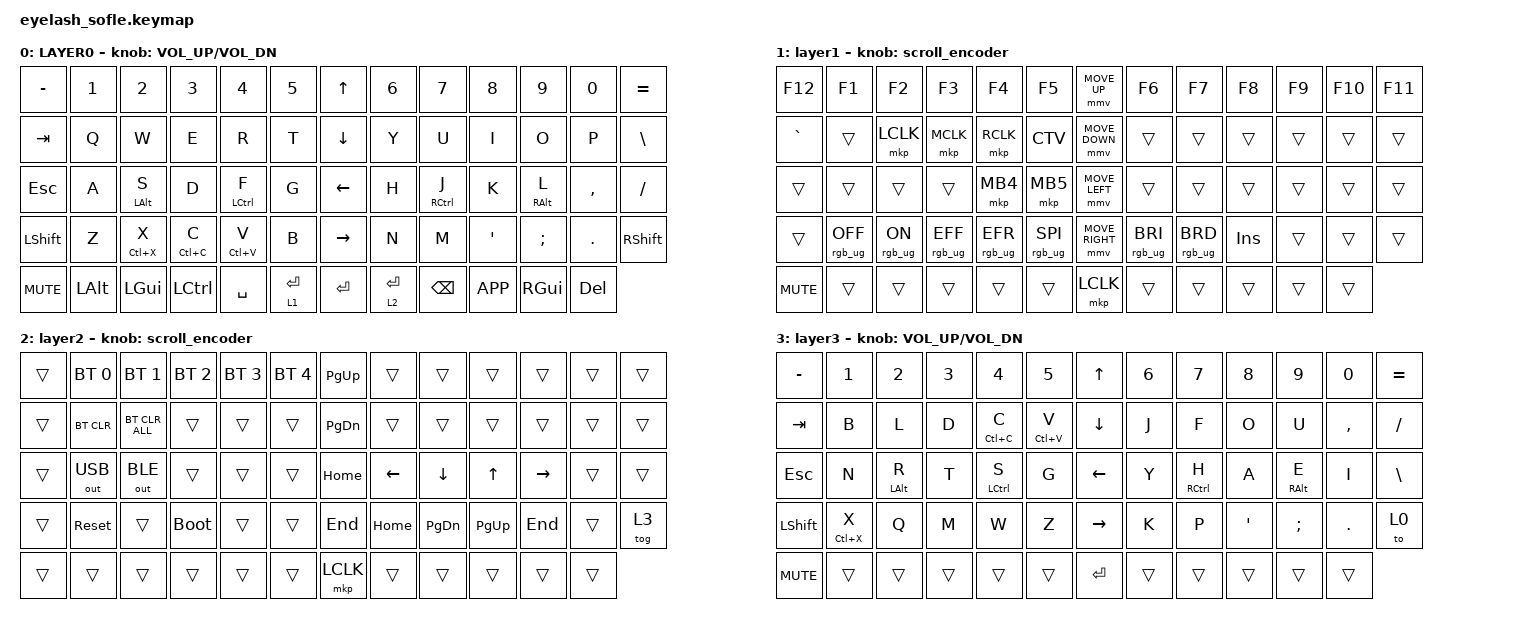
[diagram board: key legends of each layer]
#define ZMK_POINTING_DEFAULT_MOVE_VAL 1200  // 600
#define ZMK_POINTING_DEFAULT_SCRL_VAL 25   // 10

#include <input/processors.dtsi>
#include <zephyr/dt-bindings/input/input-event-codes.h>
#include <behaviors.dtsi>
#include <dt-bindings/zmk/bt.h>
#include <dt-bindings/zmk/keys.h>
#include <dt-bindings/zmk/outputs.h>
#include <dt-bindings/zmk/pointing.h>
#include <dt-bindings/zmk/rgb.h>

&mmv_input_listener { input-processors = <&zip_xy_scaler 2 1>; };

&msc_input_listener { input-processors = <&zip_scroll_scaler 2 1>; };

&msc {
    acceleration-exponent = <1>;      // 0
    time-to-max-speed-ms = <100>;       // 300
    delay-ms = <0>;                   // 0
};

&mmv {
    time-to-max-speed-ms = <500>;
    acceleration-exponent = <1>;
    trigger-period-ms = <16>;
};

&soft_off { hold-time-ms = <2000>; };

&mt { require-prior-idle-ms = <125>; };

/ {
    scroll_encoder: scroll_encoder {
        compatible = "zmk,behavior-sensor-rotate";
        #sensor-binding-cells = <0>;
        bindings = <&msc SCRL_DOWN>, <&msc SCRL_UP>;

        tap-ms = <100>;
    };

    behaviors {
    };

    combos {
        compatible = "zmk,combos";

        softoff {
            bindings = <&soft_off>;
            key-positions = <14 28 40>;
        };
    };

    macros {
        SHIFT_MCLK: SHIFT_MCLK {
            compatible = "zmk,behavior-macro";
            #binding-cells = <0>;
            bindings =
                <&macro_press>,
                <&kp LEFT_SHIFT>,
                <&macro_press>,
                <&mkp MB3>,
                <&macro_pause_for_release>,
                <&macro_release>,
                <&kp LEFT_SHIFT &mkp MB3>;

            label = "SHIFT_MCLK";
        };

        CTV: CTV {
            compatible = "zmk,behavior-macro";
            #binding-cells = <0>;
            bindings =
                <&macro_press>,
                <&kp LCTRL>,
                <&macro_tap>,
                <&kp C &kp T &kp V>,
                <&macro_release>,
                <&kp LCTRL>;

            label = "CTV";
        };
    };

    keymap {
        compatible = "zmk,keymap";

        Base {
            bindings = <
&kp MINUS   &kp N1    &kp N2          &kp N3       &kp N4       &kp N5       &kp UP_ARROW     &kp N6     &kp N7       &kp N8     &kp N9           &kp N0      &kp EQUAL
&kp TAB     &kp Q     &kp W           &kp E        &kp R        &kp T        &kp DOWN_ARROW   &kp Y      &kp U        &kp I      &kp O            &kp P       &kp BSLH
&kp ESC     &kp A     &mt LEFT_ALT S  &kp D        &mt LCTRL F  &kp G        &kp LEFT_ARROW   &kp H      &mt RCTRL J  &kp K      &mt RIGHT_ALT L  &kp COMMA   &kp FSLH
&kp LSHFT   &kp Z     &mt LC(X) X     &mt LC(C) C  &mt LC(V) V  &kp B        &kp RIGHT_ARROW  &kp N      &kp M        &kp APOS   &kp SEMI         &kp DOT     &kp RSHFT
&kp C_MUTE  &kp LALT  &kp LGUI        &kp LCTRL    &kp SPACE    &lt 1 RET    &kp ENTER        &lt 2 RET  &kp BSPC     &kp K_APP  &kp RGUI         &kp DELETE
            >;

            sensor-bindings = <&inc_dec_kp C_VOLUME_UP C_VOL_DN>;
            display-name = "LAYER0";
            label = "Base";
        };

        Low {
            bindings = <
&kp F12     &kp F1           &kp F2          &kp F3           &kp F4           &kp F5             &mmv MOVE_UP     &kp F6           &kp F7           &kp F8      &kp F9  &kp F10  &kp F11
&kp GRAVE   &trans           &mkp LCLK       &mkp MCLK        &mkp RCLK        &CTV               &mmv MOVE_DOWN   &trans           &trans           &trans      &trans  &trans   &trans
&trans      &trans           &trans          &trans           &mkp MB4         &mkp MB5           &mmv MOVE_LEFT   &trans           &trans           &trans      &trans  &trans   &trans
&trans      &rgb_ug RGB_OFF  &rgb_ug RGB_ON  &rgb_ug RGB_EFF  &rgb_ug RGB_EFR  &rgb_ug RGB_SPI    &mmv MOVE_RIGHT  &rgb_ug RGB_BRI  &rgb_ug RGB_BRD  &kp INSERT  &trans  &trans   &trans
&kp C_MUTE  &trans           &trans          &trans           &trans           &trans             &mkp LCLK        &trans           &trans           &trans      &trans  &trans
            >;

            display-name = "layer1";
            sensor-bindings = <&scroll_encoder>;
            label = "Low";
        };

        Rai {
            bindings = <
&trans  &bt BT_SEL 0  &bt BT_SEL 1    &bt BT_SEL 2  &bt BT_SEL 3  &bt BT_SEL 4    &kp PG_UP  &trans    &trans     &trans     &trans     &trans  &trans
&trans  &bt BT_CLR    &bt BT_CLR_ALL  &trans        &trans        &trans          &kp PG_DN  &trans    &trans     &trans     &trans     &trans  &trans
&trans  &out OUT_USB  &out OUT_BLE    &trans        &trans        &trans          &kp HOME   &kp LEFT  &kp DOWN   &kp UP     &kp RIGHT  &trans  &trans
&trans  &sys_reset    &trans          &bootloader   &trans        &trans          &kp END    &kp HOME  &kp PG_DN  &kp PG_UP  &kp END    &trans  &tog 3
&trans  &trans        &trans          &trans        &trans        &trans          &mkp LCLK  &trans    &trans     &trans     &trans     &trans
            >;

            display-name = "layer2";
            sensor-bindings = <&scroll_encoder>;
            label = "Rai";
        };

        Alt {
            bindings = <
&kp MINUS   &kp N1       &kp N2          &kp N3  &kp N4       &kp N5         &kp UP     &kp N6  &kp N7       &kp N8    &kp N9           &kp N0     &kp EQUAL
&kp TAB     &kp B        &kp L           &kp D   &mt LC(C) C  &mt LC(V) V    &kp DOWN   &kp J   &kp F        &kp O     &kp U            &kp COMMA  &kp FSLH
&kp ESC     &kp N        &mt LEFT_ALT R  &kp T   &mt LCTRL S  &kp G          &kp LEFT   &kp Y   &mt RCTRL H  &kp A     &mt RIGHT_ALT E  &kp I      &kp BSLH
&kp LSHFT   &mt LC(X) X  &kp Q           &kp M   &kp W        &kp Z          &kp RIGHT  &kp K   &kp P        &kp APOS  &kp SEMI         &kp DOT    &to 0
&kp C_MUTE  &trans       &trans          &trans  &trans       &trans         &kp ENTER  &trans  &trans       &trans    &trans           &trans
            >;

            display-name = "layer3";
            sensor-bindings = <&inc_dec_kp C_VOLUME_UP C_VOL_DN>;
            label = "Gallium";
        };
    };
};
